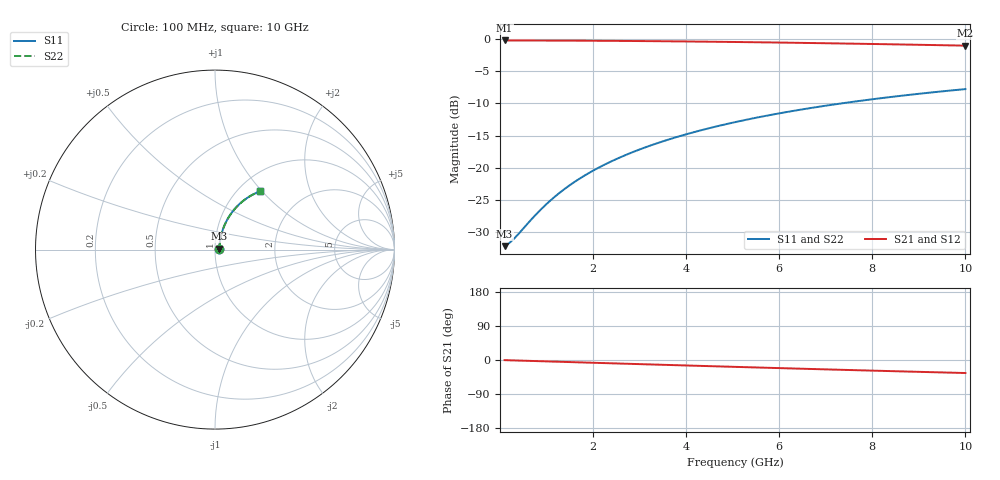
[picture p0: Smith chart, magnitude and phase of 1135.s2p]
# Hz S RI R 50.00
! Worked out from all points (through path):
!   100 points, 100 MHz to 10 GHz, reference 50 ohm
!   highest |S21| = -0.21 dB at 100 MHz (marker M1); lowest = -1.0 dB at 10 GHz (marker M2)
!   group delay of S21, straight-line fit = 9.58 ps
!   lowest |S11| = -32.2 dB at 100 MHz (marker M3), VSWR 1.05, Z = 52.5 + j0.468 ohm
!   |S11| at or under -10 dB: start of sweep to 7.327 GHz
!   |S22| runs from -32.2 to -7.8 dB; largest |S21 - S12| = 0
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1e8  0.0243 0.00446  0.9757 -0.00622  0.9757 -0.00622  0.0243 0.00446
2e8  0.0245 0.00892  0.9755 -0.0124  0.9755 -0.0124  0.0245 0.00892
3e8  0.0247 0.0134  0.9752 -0.0186  0.9752 -0.0186  0.0247 0.0134
8e8  0.0267 0.0356  0.9732 -0.0496  0.9732 -0.0496  0.0267 0.0356
9e8  0.0272 0.04  0.9727 -0.0558  0.9727 -0.0558  0.0272 0.04
1.1e9  0.0284 0.0488  0.9714 -0.0681  0.9714 -0.0681  0.0284 0.0488
1.4e9  0.0307 0.0619  0.969 -0.0865  0.969 -0.0865  0.0307 0.0619
1.6e9  0.0324 0.0706  0.9672 -0.0987  0.9672 -0.0987  0.0324 0.0706
1.8e9  0.0344 0.0792  0.9651 -0.1109  0.9651 -0.1109  0.0344 0.0792
2.1e9  0.0377 0.092  0.9615 -0.129  0.9615 -0.129  0.0377 0.092
2.5e9  0.0429 0.1089  0.9561 -0.1528  0.9561 -0.1528  0.0429 0.1089
2.9e9  0.0489 0.1253  0.9497 -0.1764  0.9497 -0.1764  0.0489 0.1253
3.4e9  0.0575 0.1454  0.9406 -0.2052  0.9406 -0.2052  0.0575 0.1454
3.8e9  0.0652 0.1609  0.9325 -0.2278  0.9325 -0.2278  0.0652 0.1609
4.2e9  0.0736 0.1759  0.9235 -0.2499  0.9235 -0.2499  0.0736 0.1759
4.6e9  0.0827 0.1904  0.9139 -0.2715  0.9139 -0.2715  0.0827 0.1904
5.1e9  0.095 0.2078  0.9009 -0.2977  0.9009 -0.2977  0.095 0.2078
5.9e9  0.1164 0.2336  0.878 -0.3378  0.878 -0.3378  0.1164 0.2336
6.7e9  0.1398 0.2569  0.853 -0.3753  0.853 -0.3753  0.1398 0.2569
7.5e9  0.1648 0.2774  0.8262 -0.4102  0.8262 -0.4102  0.1648 0.2774
8.4e9  0.1944 0.2973  0.7942 -0.4462  0.7942 -0.4462  0.1944 0.2973
1e10  0.2494 0.324  0.7343 -0.5019  0.7343 -0.5019  0.2494 0.324
